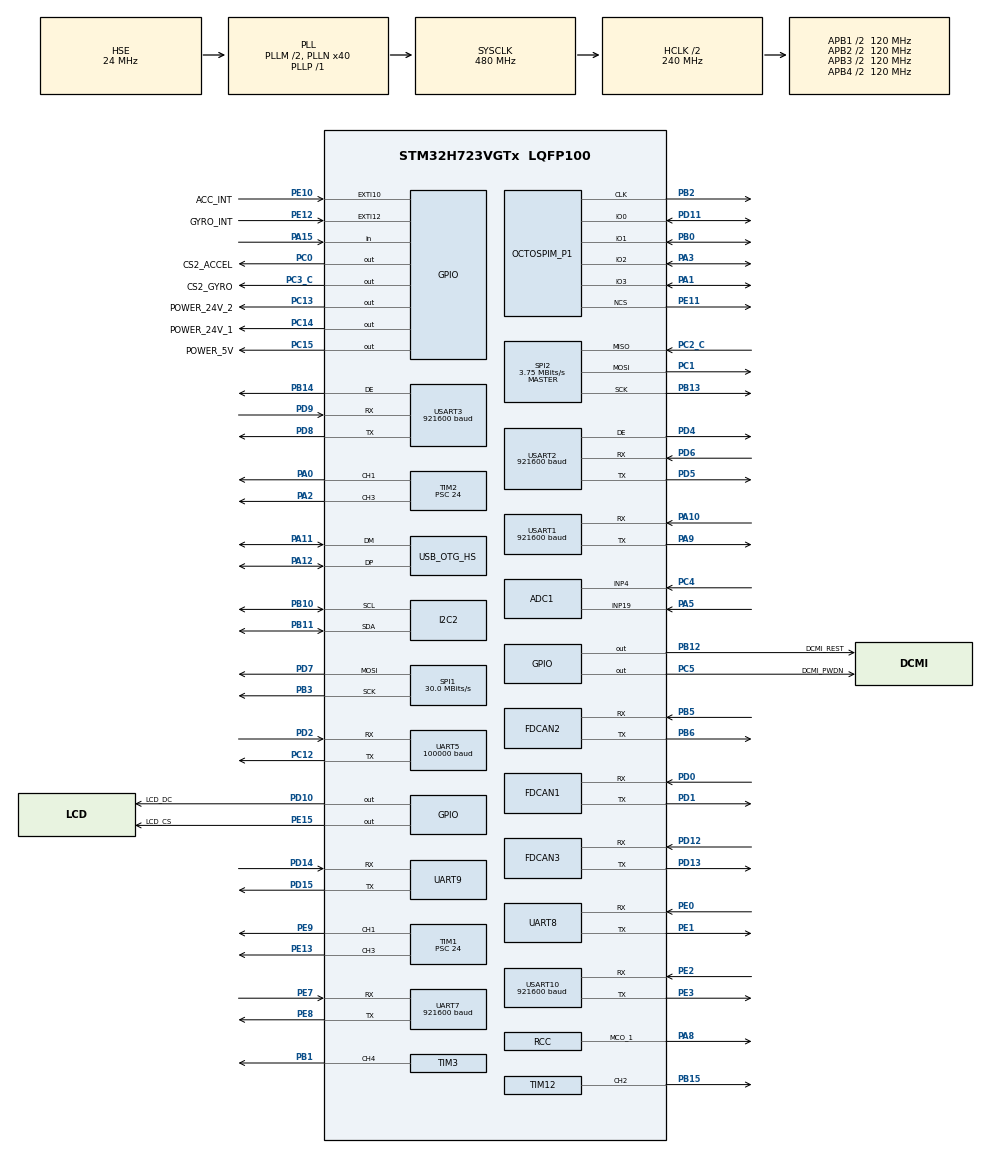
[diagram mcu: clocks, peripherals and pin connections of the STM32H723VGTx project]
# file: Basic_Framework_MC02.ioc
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ADC1.Channel-0\#ChannelRegularConversion=ADC_CHANNEL_4
ADC1.Channel-1\#ChannelRegularConversion=ADC_CHANNEL_19
ADC1.ClockPrescaler=ADC_CLOCK_ASYNC_DIV64
ADC1.ContinuousConvMode=ENABLE
ADC1.ConversionDataManagement=ADC_CONVERSIONDATA_DMA_CIRCULAR
ADC1.NbrOfConversion=2
ADC1.NbrOfConversionFlag=1
ADC1.OffsetNumber-0\#ChannelRegularConversion=ADC_OFFSET_NONE
ADC1.OffsetNumber-1\#ChannelRegularConversion=ADC_OFFSET_NONE
ADC1.OffsetSignedSaturation-0\#ChannelRegularConversion=DISABLE
ADC1.OffsetSignedSaturation-1\#ChannelRegularConversion=DISABLE
ADC1.Rank-0\#ChannelRegularConversion=1
ADC1.Rank-1\#ChannelRegularConversion=2
ADC1.SamplingTime-0\#ChannelRegularConversion=ADC_SAMPLETIME_32CYCLES_5
ADC1.SamplingTime-1\#ChannelRegularConversion=ADC_SAMPLETIME_32CYCLES_5
ADC1.master=1
CORTEX_M7.BaseAddress-Cortex_Memory_Protection_Unit_Region0_Settings=0x24000000
CORTEX_M7.CPU_DCache=Disabled
CORTEX_M7.CPU_ICache=Disabled
CORTEX_M7.Enable-Cortex_Memory_Protection_Unit_Region0_Settings=MPU_REGION_ENABLE
CORTEX_M7.IsBufferable-Cortex_Memory_Protection_Unit_Region0_Settings=MPU_ACCESS_BUFFERABLE
CORTEX_M7.IsCacheable-Cortex_Memory_Protection_Unit_Region0_Settings=MPU_ACCESS_CACHEABLE
CORTEX_M7.MPU_Control=__NULL
CORTEX_M7.Size-Cortex_Memory_Protection_Unit_Region0_Settings=MPU_REGION_SIZE_512B
CORTEX_M7.TypeExtField-Cortex_Memory_Protection_Unit_Region0_Settings=MPU_TEX_LEVEL1
Dma.ADC1.0.Direction=DMA_PERIPH_TO_MEMORY
Dma.ADC1.0.EventEnable=DISABLE
Dma.ADC1.0.FIFOMode=DMA_FIFOMODE_DISABLE
Dma.ADC1.0.Instance=DMA1_Stream0
Dma.ADC1.0.MemDataAlignment=DMA_MDATAALIGN_HALFWORD
Dma.ADC1.0.MemInc=DMA_MINC_ENABLE
Dma.ADC1.0.Mode=DMA_CIRCULAR
Dma.ADC1.0.PeriphDataAlignment=DMA_PDATAALIGN_HALFWORD
Dma.ADC1.0.PeriphInc=DMA_PINC_DISABLE
Dma.ADC1.0.Polarity=HAL_DMAMUX_REQ_GEN_RISING
Dma.ADC1.0.Priority=DMA_PRIORITY_LOW
Dma.ADC1.0.RequestNumber=1
Dma.ADC1.0.SignalID=NONE
Dma.ADC1.0.SyncEnable=DISABLE
Dma.ADC1.0.SyncPolarity=HAL_DMAMUX_SYNC_NO_EVENT
Dma.ADC1.0.SyncRequestNumber=1
Dma.ADC1.0.SyncSignalID=NONE
Dma.I2C2_RX.2.Direction=DMA_PERIPH_TO_MEMORY
Dma.I2C2_RX.2.EventEnable=DISABLE
Dma.I2C2_RX.2.FIFOMode=DMA_FIFOMODE_DISABLE
Dma.I2C2_RX.2.Instance=DMA1_Stream2
Dma.I2C2_RX.2.MemDataAlignment=DMA_MDATAALIGN_BYTE
Dma.I2C2_RX.2.MemInc=DMA_MINC_ENABLE
Dma.I2C2_RX.2.Mode=DMA_NORMAL
Dma.I2C2_RX.2.PeriphDataAlignment=DMA_PDATAALIGN_BYTE
Dma.I2C2_RX.2.PeriphInc=DMA_PINC_DISABLE
Dma.I2C2_RX.2.Polarity=HAL_DMAMUX_REQ_GEN_RISING
Dma.I2C2_RX.2.Priority=DMA_PRIORITY_LOW
Dma.I2C2_RX.2.RequestNumber=1
Dma.I2C2_RX.2.SignalID=NONE
Dma.I2C2_RX.2.SyncEnable=DISABLE
Dma.I2C2_RX.2.SyncPolarity=HAL_DMAMUX_SYNC_NO_EVENT
Dma.I2C2_RX.2.SyncRequestNumber=1
Dma.I2C2_RX.2.SyncSignalID=NONE
Dma.I2C2_TX.3.Direction=DMA_MEMORY_TO_PERIPH
Dma.I2C2_TX.3.EventEnable=DISABLE
Dma.I2C2_TX.3.FIFOMode=DMA_FIFOMODE_DISABLE
Dma.I2C2_TX.3.Instance=DMA1_Stream3
Dma.I2C2_TX.3.MemDataAlignment=DMA_MDATAALIGN_BYTE
Dma.I2C2_TX.3.MemInc=DMA_MINC_ENABLE
Dma.I2C2_TX.3.Mode=DMA_NORMAL
Dma.I2C2_TX.3.PeriphDataAlignment=DMA_PDATAALIGN_BYTE
Dma.I2C2_TX.3.PeriphInc=DMA_PINC_DISABLE
Dma.I2C2_TX.3.Polarity=HAL_DMAMUX_REQ_GEN_RISING
Dma.I2C2_TX.3.Priority=DMA_PRIORITY_LOW
Dma.I2C2_TX.3.RequestNumber=1
Dma.I2C2_TX.3.SignalID=NONE
Dma.I2C2_TX.3.SyncEnable=DISABLE
Dma.I2C2_TX.3.SyncPolarity=HAL_DMAMUX_SYNC_NO_EVENT
Dma.I2C2_TX.3.SyncRequestNumber=1
Dma.I2C2_TX.3.SyncSignalID=NONE
Dma.Request0=ADC1
Dma.Request1=UART5_RX
Dma.Request10=USART1_TX
Dma.Request11=USART1_RX
Dma.Request12=USART10_RX
Dma.Request13=USART10_TX
Dma.Request14=UART8_TX
Dma.Request15=UART8_RX
Dma.Request2=I2C2_RX
Dma.Request3=I2C2_TX
Dma.Request4=UART9_RX
Dma.Request5=UART9_TX
Dma.Request6=USART3_RX
Dma.Request7=USART3_TX
Dma.Request8=USART2_RX
Dma.Request9=USART2_TX
Dma.UART5_RX.1.Direction=DMA_PERIPH_TO_MEMORY
Dma.UART5_RX.1.EventEnable=DISABLE
Dma.UART5_RX.1.FIFOMode=DMA_FIFOMODE_DISABLE
Dma.UART5_RX.1.Instance=DMA1_Stream7
Dma.UART5_RX.1.MemDataAlignment=DMA_MDATAALIGN_BYTE
Dma.UART5_RX.1.MemInc=DMA_MINC_ENABLE
Dma.UART5_RX.1.Mode=DMA_NORMAL
Dma.UART5_RX.1.PeriphDataAlignment=DMA_PDATAALIGN_BYTE
Dma.UART5_RX.1.PeriphInc=DMA_PINC_DISABLE
Dma.UART5_RX.1.Polarity=HAL_DMAMUX_REQ_GEN_RISING
Dma.UART5_RX.1.Priority=DMA_PRIORITY_VERY_HIGH
Dma.UART5_RX.1.RequestNumber=1
Dma.UART5_RX.1.SignalID=NONE
Dma.UART5_RX.1.SyncEnable=DISABLE
Dma.UART5_RX.1.SyncPolarity=HAL_DMAMUX_SYNC_NO_EVENT
Dma.UART5_RX.1.SyncRequestNumber=1
Dma.UART5_RX.1.SyncSignalID=NONE
Dma.UART8_RX.15.Direction=DMA_PERIPH_TO_MEMORY
Dma.UART8_RX.15.EventEnable=DISABLE
Dma.UART8_RX.15.FIFOMode=DMA_FIFOMODE_DISABLE
Dma.UART8_RX.15.Instance=DMA2_Stream7
Dma.UART8_RX.15.MemDataAlignment=DMA_MDATAALIGN_BYTE
Dma.UART8_RX.15.MemInc=DMA_MINC_ENABLE
Dma.UART8_RX.15.Mode=DMA_NORMAL
Dma.UART8_RX.15.PeriphDataAlignment=DMA_PDATAALIGN_BYTE
Dma.UART8_RX.15.PeriphInc=DMA_PINC_DISABLE
Dma.UART8_RX.15.Polarity=HAL_DMAMUX_REQ_GEN_RISING
Dma.UART8_RX.15.Priority=DMA_PRIORITY_LOW
Dma.UART8_RX.15.RequestNumber=1
Dma.UART8_RX.15.SignalID=NONE
Dma.UART8_RX.15.SyncEnable=DISABLE
Dma.UART8_RX.15.SyncPolarity=HAL_DMAMUX_SYNC_NO_EVENT
Dma.UART8_RX.15.SyncRequestNumber=1
Dma.UART8_RX.15.SyncSignalID=NONE
Dma.UART8_TX.14.Direction=DMA_MEMORY_TO_PERIPH
Dma.UART8_TX.14.EventEnable=DISABLE
Dma.UART8_TX.14.FIFOMode=DMA_FIFOMODE_DISABLE
Dma.UART8_TX.14.Instance=DMA2_Stream6
Dma.UART8_TX.14.MemDataAlignment=DMA_MDATAALIGN_BYTE
Dma.UART8_TX.14.MemInc=DMA_MINC_ENABLE
Dma.UART8_TX.14.Mode=DMA_NORMAL
Dma.UART8_TX.14.PeriphDataAlignment=DMA_PDATAALIGN_BYTE
Dma.UART8_TX.14.PeriphInc=DMA_PINC_DISABLE
Dma.UART8_TX.14.Polarity=HAL_DMAMUX_REQ_GEN_RISING
Dma.UART8_TX.14.Priority=DMA_PRIORITY_LOW
Dma.UART8_TX.14.RequestNumber=1
Dma.UART8_TX.14.SignalID=NONE
Dma.UART8_TX.14.SyncEnable=DISABLE
Dma.UART8_TX.14.SyncPolarity=HAL_DMAMUX_SYNC_NO_EVENT
Dma.UART8_TX.14.SyncRequestNumber=1
Dma.UART8_TX.14.SyncSignalID=NONE
Dma.UART9_RX.4.Direction=DMA_PERIPH_TO_MEMORY
Dma.UART9_RX.4.EventEnable=DISABLE
Dma.UART9_RX.4.FIFOMode=DMA_FIFOMODE_DISABLE
Dma.UART9_RX.4.Instance=DMA1_Stream4
Dma.UART9_RX.4.MemDataAlignment=DMA_MDATAALIGN_BYTE
Dma.UART9_RX.4.MemInc=DMA_MINC_ENABLE
Dma.UART9_RX.4.Mode=DMA_NORMAL
Dma.UART9_RX.4.PeriphDataAlignment=DMA_PDATAALIGN_BYTE
Dma.UART9_RX.4.PeriphInc=DMA_PINC_DISABLE
Dma.UART9_RX.4.Polarity=HAL_DMAMUX_REQ_GEN_RISING
Dma.UART9_RX.4.Priority=DMA_PRIORITY_HIGH
Dma.UART9_RX.4.RequestNumber=1
Dma.UART9_RX.4.SignalID=NONE
Dma.UART9_RX.4.SyncEnable=DISABLE
Dma.UART9_RX.4.SyncPolarity=HAL_DMAMUX_SYNC_NO_EVENT
Dma.UART9_RX.4.SyncRequestNumber=1
Dma.UART9_RX.4.SyncSignalID=NONE
Dma.UART9_TX.5.Direction=DMA_MEMORY_TO_PERIPH
Dma.UART9_TX.5.EventEnable=DISABLE
Dma.UART9_TX.5.FIFOMode=DMA_FIFOMODE_DISABLE
Dma.UART9_TX.5.Instance=DMA1_Stream5
Dma.UART9_TX.5.MemDataAlignment=DMA_MDATAALIGN_BYTE
Dma.UART9_TX.5.MemInc=DMA_MINC_ENABLE
Dma.UART9_TX.5.Mode=DMA_NORMAL
Dma.UART9_TX.5.PeriphDataAlignment=DMA_PDATAALIGN_BYTE
Dma.UART9_TX.5.PeriphInc=DMA_PINC_DISABLE
Dma.UART9_TX.5.Polarity=HAL_DMAMUX_REQ_GEN_RISING
Dma.UART9_TX.5.Priority=DMA_PRIORITY_HIGH
Dma.UART9_TX.5.RequestNumber=1
Dma.UART9_TX.5.SignalID=NONE
Dma.UART9_TX.5.SyncEnable=DISABLE
Dma.UART9_TX.5.SyncPolarity=HAL_DMAMUX_SYNC_NO_EVENT
Dma.UART9_TX.5.SyncRequestNumber=1
Dma.UART9_TX.5.SyncSignalID=NONE
Dma.USART10_RX.12.Direction=DMA_PERIPH_TO_MEMORY
Dma.USART10_RX.12.EventEnable=DISABLE
Dma.USART10_RX.12.FIFOMode=DMA_FIFOMODE_DISABLE
Dma.USART10_RX.12.Instance=DMA2_Stream4
Dma.USART10_RX.12.MemDataAlignment=DMA_MDATAALIGN_BYTE
Dma.USART10_RX.12.MemInc=DMA_MINC_ENABLE
Dma.USART10_RX.12.Mode=DMA_NORMAL
Dma.USART10_RX.12.PeriphDataAlignment=DMA_PDATAALIGN_BYTE
Dma.USART10_RX.12.PeriphInc=DMA_PINC_DISABLE
Dma.USART10_RX.12.Polarity=HAL_DMAMUX_REQ_GEN_RISING
Dma.USART10_RX.12.Priority=DMA_PRIORITY_LOW
Dma.USART10_RX.12.RequestNumber=1
Dma.USART10_RX.12.SignalID=NONE
Dma.USART10_RX.12.SyncEnable=DISABLE
Dma.USART10_RX.12.SyncPolarity=HAL_DMAMUX_SYNC_NO_EVENT
Dma.USART10_RX.12.SyncRequestNumber=1
Dma.USART10_RX.12.SyncSignalID=NONE
Dma.USART10_TX.13.Direction=DMA_MEMORY_TO_PERIPH
Dma.USART10_TX.13.EventEnable=DISABLE
Dma.USART10_TX.13.FIFOMode=DMA_FIFOMODE_DISABLE
Dma.USART10_TX.13.Instance=DMA2_Stream5
Dma.USART10_TX.13.MemDataAlignment=DMA_MDATAALIGN_BYTE
Dma.USART10_TX.13.MemInc=DMA_MINC_ENABLE
Dma.USART10_TX.13.Mode=DMA_NORMAL
Dma.USART10_TX.13.PeriphDataAlignment=DMA_PDATAALIGN_BYTE
Dma.USART10_TX.13.PeriphInc=DMA_PINC_DISABLE
Dma.USART10_TX.13.Polarity=HAL_DMAMUX_REQ_GEN_RISING
Dma.USART10_TX.13.Priority=DMA_PRIORITY_LOW
Dma.USART10_TX.13.RequestNumber=1
Dma.USART10_TX.13.SignalID=NONE
Dma.USART10_TX.13.SyncEnable=DISABLE
Dma.USART10_TX.13.SyncPolarity=HAL_DMAMUX_SYNC_NO_EVENT
Dma.USART10_TX.13.SyncRequestNumber=1
Dma.USART10_TX.13.SyncSignalID=NONE
Dma.USART1_RX.11.Direction=DMA_PERIPH_TO_MEMORY
Dma.USART1_RX.11.EventEnable=DISABLE
Dma.USART1_RX.11.FIFOMode=DMA_FIFOMODE_DISABLE
Dma.USART1_RX.11.Instance=DMA2_Stream3
Dma.USART1_RX.11.MemDataAlignment=DMA_MDATAALIGN_BYTE
Dma.USART1_RX.11.MemInc=DMA_MINC_ENABLE
Dma.USART1_RX.11.Mode=DMA_NORMAL
Dma.USART1_RX.11.PeriphDataAlignment=DMA_PDATAALIGN_BYTE
Dma.USART1_RX.11.PeriphInc=DMA_PINC_DISABLE
Dma.USART1_RX.11.Polarity=HAL_DMAMUX_REQ_GEN_RISING
Dma.USART1_RX.11.Priority=DMA_PRIORITY_LOW
Dma.USART1_RX.11.RequestNumber=1
Dma.USART1_RX.11.SignalID=NONE
Dma.USART1_RX.11.SyncEnable=DISABLE
Dma.USART1_RX.11.SyncPolarity=HAL_DMAMUX_SYNC_NO_EVENT
Dma.USART1_RX.11.SyncRequestNumber=1
Dma.USART1_RX.11.SyncSignalID=NONE
Dma.USART1_TX.10.Direction=DMA_MEMORY_TO_PERIPH
Dma.USART1_TX.10.EventEnable=DISABLE
Dma.USART1_TX.10.FIFOMode=DMA_FIFOMODE_DISABLE
Dma.USART1_TX.10.Instance=DMA2_Stream2
Dma.USART1_TX.10.MemDataAlignment=DMA_MDATAALIGN_BYTE
Dma.USART1_TX.10.MemInc=DMA_MINC_ENABLE
Dma.USART1_TX.10.Mode=DMA_NORMAL
Dma.USART1_TX.10.PeriphDataAlignment=DMA_PDATAALIGN_BYTE
Dma.USART1_TX.10.PeriphInc=DMA_PINC_DISABLE
Dma.USART1_TX.10.Polarity=HAL_DMAMUX_REQ_GEN_RISING
Dma.USART1_TX.10.Priority=DMA_PRIORITY_LOW
Dma.USART1_TX.10.RequestNumber=1
Dma.USART1_TX.10.SignalID=NONE
Dma.USART1_TX.10.SyncEnable=DISABLE
Dma.USART1_TX.10.SyncPolarity=HAL_DMAMUX_SYNC_NO_EVENT
Dma.USART1_TX.10.SyncRequestNumber=1
Dma.USART1_TX.10.SyncSignalID=NONE
Dma.USART2_RX.8.Direction=DMA_PERIPH_TO_MEMORY
Dma.USART2_RX.8.EventEnable=DISABLE
Dma.USART2_RX.8.FIFOMode=DMA_FIFOMODE_DISABLE
Dma.USART2_RX.8.Instance=DMA2_Stream0
Dma.USART2_RX.8.MemDataAlignment=DMA_MDATAALIGN_BYTE
Dma.USART2_RX.8.MemInc=DMA_MINC_ENABLE
Dma.USART2_RX.8.Mode=DMA_NORMAL
Dma.USART2_RX.8.PeriphDataAlignment=DMA_PDATAALIGN_BYTE
Dma.USART2_RX.8.PeriphInc=DMA_PINC_DISABLE
Dma.USART2_RX.8.Polarity=HAL_DMAMUX_REQ_GEN_RISING
Dma.USART2_RX.8.Priority=DMA_PRIORITY_LOW
Dma.USART2_RX.8.RequestNumber=1
Dma.USART2_RX.8.SignalID=NONE
Dma.USART2_RX.8.SyncEnable=DISABLE
Dma.USART2_RX.8.SyncPolarity=HAL_DMAMUX_SYNC_NO_EVENT
Dma.USART2_RX.8.SyncRequestNumber=1
Dma.USART2_RX.8.SyncSignalID=NONE
Dma.USART2_TX.9.Direction=DMA_MEMORY_TO_PERIPH
Dma.USART2_TX.9.EventEnable=DISABLE
Dma.USART2_TX.9.FIFOMode=DMA_FIFOMODE_DISABLE
Dma.USART2_TX.9.Instance=DMA2_Stream1
Dma.USART2_TX.9.MemDataAlignment=DMA_MDATAALIGN_BYTE
Dma.USART2_TX.9.MemInc=DMA_MINC_ENABLE
Dma.USART2_TX.9.Mode=DMA_NORMAL
Dma.USART2_TX.9.PeriphDataAlignment=DMA_PDATAALIGN_BYTE
Dma.USART2_TX.9.PeriphInc=DMA_PINC_DISABLE
Dma.USART2_TX.9.Polarity=HAL_DMAMUX_REQ_GEN_RISING
Dma.USART2_TX.9.Priority=DMA_PRIORITY_LOW
Dma.USART2_TX.9.RequestNumber=1
Dma.USART2_TX.9.SignalID=NONE
Dma.USART2_TX.9.SyncEnable=DISABLE
Dma.USART2_TX.9.SyncPolarity=HAL_DMAMUX_SYNC_NO_EVENT
Dma.USART2_TX.9.SyncRequestNumber=1
Dma.USART2_TX.9.SyncSignalID=NONE
Dma.USART3_RX.6.Direction=DMA_PERIPH_TO_MEMORY
Dma.USART3_RX.6.EventEnable=DISABLE
Dma.USART3_RX.6.FIFOMode=DMA_FIFOMODE_DISABLE
Dma.USART3_RX.6.Instance=DMA1_Stream6
Dma.USART3_RX.6.MemDataAlignment=DMA_MDATAALIGN_BYTE
Dma.USART3_RX.6.MemInc=DMA_MINC_ENABLE
Dma.USART3_RX.6.Mode=DMA_NORMAL
Dma.USART3_RX.6.PeriphDataAlignment=DMA_PDATAALIGN_BYTE
Dma.USART3_RX.6.PeriphInc=DMA_PINC_DISABLE
Dma.USART3_RX.6.Polarity=HAL_DMAMUX_REQ_GEN_RISING
Dma.USART3_RX.6.Priority=DMA_PRIORITY_LOW
Dma.USART3_RX.6.RequestNumber=1
Dma.USART3_RX.6.SignalID=NONE
Dma.USART3_RX.6.SyncEnable=DISABLE
Dma.USART3_RX.6.SyncPolarity=HAL_DMAMUX_SYNC_NO_EVENT
Dma.USART3_RX.6.SyncRequestNumber=1
Dma.USART3_RX.6.SyncSignalID=NONE
Dma.USART3_TX.7.Direction=DMA_MEMORY_TO_PERIPH
Dma.USART3_TX.7.EventEnable=DISABLE
Dma.USART3_TX.7.FIFOMode=DMA_FIFOMODE_DISABLE
Dma.USART3_TX.7.Instance=DMA1_Stream1
Dma.USART3_TX.7.MemDataAlignment=DMA_MDATAALIGN_BYTE
Dma.USART3_TX.7.MemInc=DMA_MINC_ENABLE
Dma.USART3_TX.7.Mode=DMA_NORMAL
Dma.USART3_TX.7.PeriphDataAlignment=DMA_PDATAALIGN_BYTE
Dma.USART3_TX.7.PeriphInc=DMA_PINC_DISABLE
Dma.USART3_TX.7.Polarity=HAL_DMAMUX_REQ_GEN_RISING
Dma.USART3_TX.7.Priority=DMA_PRIORITY_LOW
Dma.USART3_TX.7.RequestNumber=1
Dma.USART3_TX.7.SignalID=NONE
Dma.USART3_TX.7.SyncEnable=DISABLE
Dma.USART3_TX.7.SyncPolarity=HAL_DMAMUX_SYNC_NO_EVENT
Dma.USART3_TX.7.SyncRequestNumber=1
Dma.USART3_TX.7.SyncSignalID=NONE
FDCAN1.CalculateBaudRateNominal=1000000
FDCAN1.CalculateTimeBitNominal=1000
FDCAN1.CalculateTimeQuantumNominal=25.0
FDCAN1.DataPrescaler=3
FDCAN1.DataSyncJumpWidth=10
FDCAN1.DataTimeSeg1=29
FDCAN1.DataTimeSeg2=10
FDCAN1.NominalPrescaler=3
FDCAN1.NominalTimeSeg1=29
FDCAN1.NominalTimeSeg2=10
FDCAN1.ProtocolException=ENABLE
FDCAN1.RxFifo0ElmtsNbr=4
FDCAN1.RxFifo1ElmtsNbr=4
FDCAN1.StdFiltersNbr=14
FDCAN1.TxFifoQueueElmtsNbr=4
FDCAN2.CalculateBaudRateNominal=1000000
FDCAN2.CalculateTimeBitNominal=1000
FDCAN2.CalculateTimeQuantumNominal=25.0
FDCAN2.DataPrescaler=3
FDCAN2.DataSyncJumpWidth=10
FDCAN2.DataTimeSeg1=29
FDCAN2.DataTimeSeg2=10
FDCAN2.MessageRAMOffset=0x406
FDCAN2.NominalPrescaler=3
FDCAN2.NominalTimeSeg1=29
FDCAN2.NominalTimeSeg2=10
FDCAN2.RxFifo0ElmtsNbr=4
FDCAN2.RxFifo1ElmtsNbr=4
FDCAN2.StdFiltersNbr=14
FDCAN2.TxFifoQueueElmtsNbr=4
FDCAN3.CalculateBaudRateNominal=1000000
FDCAN3.CalculateTimeBitNominal=1000
FDCAN3.CalculateTimeQuantumNominal=25.0
FDCAN3.DataPrescaler=3
FDCAN3.DataSyncJumpWidth=10
FDCAN3.DataTimeSeg1=29
FDCAN3.DataTimeSeg2=10
FDCAN3.MessageRAMOffset=0x812
FDCAN3.NominalPrescaler=3
FDCAN3.NominalTimeSeg1=29
FDCAN3.NominalTimeSeg2=10
FDCAN3.RxFifo0ElmtsNbr=4
FDCAN3.RxFifo1ElmtsNbr=4
FDCAN3.StdFiltersNbr=14
FDCAN3.TxFifoQueueElmtsNbr=4
FREERTOS.INCLUDE_eTaskGetState=0
FREERTOS.INCLUDE_uxTaskGetStackHighWaterMark=0
FREERTOS.INCLUDE_vTaskDelayUntil=1
FREERTOS.INCLUDE_xQueueGetMutexHolder=1
FREERTOS.INCLUDE_xTaskGetCurrentTaskHandle=0
FREERTOS.INCLUDE_xTimerPendFunctionCall=0
FREERTOS.Tasks01=defaultTask,0,128,StartDefaultTask,Default,NULL,Dynamic,NULL,NULL
FREERTOS.configENABLE_FPU=1
FREERTOS.configGENERATE_RUN_TIME_STATS=1
FREERTOS.configTOTAL_HEAP_SIZE=25600
FREERTOS.configUSE_COUNTING_SEMAPHORES=1
FREERTOS.configUSE_RECURSIVE_MUTEXES=0
FREERTOS.configUSE_TIMERS=1
FREERTOS.configUSE_TRACE_FACILITY=1
I2C2.Timing=0x307075B1
Mcu.Family=STM32H7
Mcu.Name=STM32H723VGTx
Mcu.Package=LQFP100
NVIC.DMA1_Stream0_IRQn=true\:5\:0\:false\:false\:true\:false\:false\:true\:true
NVIC.DMA1_Stream1_IRQn=true\:5\:0\:false\:false\:true\:true\:false\:true\:true
NVIC.DMA1_Stream2_IRQn=true\:5\:0\:false\:false\:true\:true\:false\:true\:true
NVIC.DMA1_Stream3_IRQn=true\:5\:0\:false\:false\:true\:true\:false\:true\:true
NVIC.DMA1_Stream4_IRQn=true\:5\:0\:false\:false\:true\:true\:false\:true\:true
NVIC.DMA1_Stream5_IRQn=true\:5\:0\:false\:false\:true\:true\:false\:true\:true
NVIC.DMA1_Stream6_IRQn=true\:5\:0\:false\:false\:true\:true\:false\:true\:true
NVIC.DMA1_Stream7_IRQn=true\:5\:0\:false\:false\:true\:true\:false\:true\:true
NVIC.DMA2_Stream0_IRQn=true\:5\:0\:false\:false\:true\:true\:false\:true\:true
NVIC.DMA2_Stream1_IRQn=true\:5\:0\:false\:false\:true\:true\:false\:true\:true
NVIC.DMA2_Stream2_IRQn=true\:5\:0\:false\:false\:true\:true\:false\:true\:true
NVIC.DMA2_Stream3_IRQn=true\:5\:0\:false\:false\:true\:true\:false\:true\:true
NVIC.DMA2_Stream4_IRQn=true\:5\:0\:false\:false\:true\:true\:false\:true\:true
NVIC.DMA2_Stream5_IRQn=true\:5\:0\:false\:false\:true\:true\:false\:true\:true
NVIC.DMA2_Stream6_IRQn=true\:5\:0\:false\:false\:true\:true\:false\:true\:true
NVIC.DMA2_Stream7_IRQn=true\:5\:0\:false\:false\:true\:true\:false\:true\:true
NVIC.FDCAN1_IT0_IRQn=true\:5\:0\:false\:false\:true\:true\:true\:true\:true
NVIC.FDCAN1_IT1_IRQn=true\:5\:0\:false\:false\:true\:true\:true\:true\:true
NVIC.FDCAN2_IT0_IRQn=true\:5\:0\:false\:false\:true\:true\:true\:true\:true
NVIC.FDCAN2_IT1_IRQn=true\:5\:0\:false\:false\:true\:true\:true\:true\:true
NVIC.FDCAN3_IT0_IRQn=true\:5\:0\:false\:false\:true\:true\:true\:true\:true
NVIC.FDCAN3_IT1_IRQn=true\:5\:0\:false\:false\:true\:true\:true\:true\:true
NVIC.I2C2_EV_IRQn=true\:5\:0\:false\:false\:true\:true\:true\:true\:true
NVIC.OTG_HS_IRQn=true\:5\:0\:false\:false\:true\:true\:false\:true\:true
NVIC.PriorityGroup=NVIC_PRIORITYGROUP_4
NVIC.TIM23_IRQn=true\:15\:0\:false\:false\:true\:false\:false\:true\:true
NVIC.TimeBase=TIM23_IRQn
NVIC.TimeBaseIP=TIM23
NVIC.UART5_IRQn=true\:5\:0\:false\:false\:true\:true\:true\:true\:true
NVIC.UART7_IRQn=true\:5\:0\:true\:false\:true\:false\:true\:true\:true
NVIC.USART10_IRQn=true\:5\:0\:true\:false\:true\:false\:true\:true\:true
NVIC.USART1_IRQn=true\:5\:0\:true\:false\:true\:false\:true\:true\:true
NVIC.USART2_IRQn=true\:5\:0\:true\:false\:true\:false\:true\:true\:true
NVIC.USART3_IRQn=true\:5\:0\:true\:false\:true\:false\:true\:true\:true
OCTOSPI2.ClockMode=HAL_OSPI_CLOCK_MODE_3
OCTOSPI2.ClockPrescaler=3
OCTOSPI2.DeviceSize=23
OCTOSPI2.DeviceType=SPI_DEVICE_FLASH
OCTOSPI2.FifoThreshold=8
OCTOSPI2.SampleShifting=HAL_OSPI_SAMPLE_SHIFTING_HALFCYCLE
PA0.Signal=S_TIM2_CH1_ETR
PA1.Mode=OCTOSPI2_IOL_Port1L
PA1.Signal=OCTOSPIM_P1_IO3
PA10.Mode=Asynchronous
PA10.Signal=USART1_RX
PA11.Mode=Device_Only_FS
PA11.Signal=USB_OTG_HS_DM
PA12.Mode=Device_Only_FS
PA12.Signal=USB_OTG_HS_DP
PA13(JTMS/SWDIO).Mode=Serial_Wire
PA13(JTMS/SWDIO).Signal=DEBUG_JTMS-SWDIO
PA14(JTCK/SWCLK).Mode=Serial_Wire
PA14(JTCK/SWCLK).Signal=DEBUG_JTCK-SWCLK
PA15(JTDI).Signal=GPIO_Input
PA2.Signal=S_TIM2_CH3
PA3.Mode=OCTOSPI2_IOL_Port1L
PA3.Signal=OCTOSPIM_P1_IO2
PA5.Signal=ADCx_INP19
PA8.Mode=Clock-out-1
PA8.Signal=RCC_MCO_1
PA9.Mode=Asynchronous
PA9.Signal=USART1_TX
PB0.Mode=OCTOSPI2_IOL_Port1L
PB0.Signal=OCTOSPIM_P1_IO1
PB1.Signal=S_TIM3_CH4
PB10.Mode=I2C
PB10.Signal=I2C2_SCL
PB11.Mode=I2C
PB11.Signal=I2C2_SDA
PB12.GPIO_Label=DCMI_REST
PB12.GPIO_PuPd=GPIO_PULLUP
PB12.GPIO_Speed=GPIO_SPEED_FREQ_VERY_HIGH
PB12.PinState=GPIO_PIN_SET
PB12.Signal=GPIO_Output
PB13.GPIO_Speed=GPIO_SPEED_FREQ_VERY_HIGH
PB13.Mode=Full_Duplex_Master
PB13.Signal=SPI2_SCK
PB14.Mode=Hardware Flow Control (RS485)
PB14.Signal=USART3_DE
PB15.Signal=S_TIM12_CH2
PB2.Mode=O2_P1_CLK
PB2.Signal=OCTOSPIM_P1_CLK
PB3(JTDO/TRACESWO).GPIO_Speed=GPIO_SPEED_FREQ_VERY_HIGH
PB3(JTDO/TRACESWO).Mode=TX_Only_Simplex_Unidirect_Master
PB3(JTDO/TRACESWO).Signal=SPI1_SCK
PB5.Mode=FDCAN_Activate
PB5.Signal=FDCAN2_RX
PB6.Mode=FDCAN_Activate
PB6.Signal=FDCAN2_TX
PC0.GPIO_Label=CS2_ACCEL
PC0.GPIO_Speed=GPIO_SPEED_FREQ_VERY_HIGH
PC0.PinState=GPIO_PIN_SET
PC0.Signal=GPIO_Output
PC1.GPIO_Speed=GPIO_SPEED_FREQ_VERY_HIGH
PC1.Mode=Full_Duplex_Master
PC1.Signal=SPI2_MOSI
PC12.Mode=Asynchronous
PC12.Signal=UART5_TX
PC13.GPIO_Label=POWER_24V_2
PC13.PinState=GPIO_PIN_SET
PC13.Signal=GPIO_Output
PC14-OSC32_IN.GPIO_Label=POWER_24V_1
PC14-OSC32_IN.PinState=GPIO_PIN_SET
PC14-OSC32_IN.Signal=GPIO_Output
PC15-OSC32_OUT.GPIO_Label=POWER_5V
PC15-OSC32_OUT.PinState=GPIO_PIN_SET
PC15-OSC32_OUT.Signal=GPIO_Output
PC2_C.GPIO_Speed=GPIO_SPEED_FREQ_VERY_HIGH
PC2_C.Mode=Full_Duplex_Master
PC2_C.Signal=SPI2_MISO
PC3_C.GPIO_Label=CS2_GYRO
PC3_C.GPIO_Speed=GPIO_SPEED_FREQ_VERY_HIGH
PC3_C.PinState=GPIO_PIN_SET
PC3_C.Signal=GPIO_Output
PC4.Signal=ADCx_INP4
PC5.GPIO_Label=DCMI_PWDN
PC5.GPIO_PuPd=GPIO_NOPULL
PC5.GPIO_Speed=GPIO_SPEED_FREQ_VERY_HIGH
PC5.PinState=GPIO_PIN_SET
PC5.Signal=GPIO_Output
PD0.Mode=FDCAN_Activate
PD0.Signal=FDCAN1_RX
PD1.Mode=FDCAN_Activate
PD1.Signal=FDCAN1_TX
PD10.GPIO_Label=LCD_DC
PD10.Signal=GPIO_Output
PD11.Mode=OCTOSPI2_IOL_Port1L
PD11.Signal=OCTOSPIM_P1_IO0
PD12.Mode=FDCAN_Activate
PD12.Signal=FDCAN3_RX
PD13.Mode=FDCAN_Activate
PD13.Signal=FDCAN3_TX
PD14.Mode=Asynchronous
PD14.Signal=UART9_RX
PD15.Mode=Asynchronous
PD15.Signal=UART9_TX
PD2.Mode=Asynchronous
PD2.Signal=UART5_RX
PD4.Mode=Hardware Flow Control (RS485)
PD4.Signal=USART2_DE
PD5.Mode=Asynchronous
PD5.Signal=USART2_TX
PD6.Mode=Asynchronous
PD6.Signal=USART2_RX
PD7.GPIO_Speed=GPIO_SPEED_FREQ_VERY_HIGH
PD7.Mode=TX_Only_Simplex_Unidirect_Master
PD7.Signal=SPI1_MOSI
PD8.Mode=Asynchronous
PD8.Signal=USART3_TX
PD9.Mode=Asynchronous
PD9.Signal=USART3_RX
PE0.Mode=Asynchronous
PE0.Signal=UART8_RX
PE1.Mode=Asynchronous
PE1.Signal=UART8_TX
PE10.GPIO_Label=ACC_INT
PE10.Signal=GPXTI10
PE11.Mode=OCTOSPI2_Port1_NCS
PE11.Signal=OCTOSPIM_P1_NCS
PE12.GPIO_Label=GYRO_INT
PE12.Signal=GPXTI12
PE13.Signal=S_TIM1_CH3
PE15.GPIO_Label=LCD_CS
PE15.Signal=GPIO_Output
PE2.Mode=Asynchronous
PE2.Signal=USART10_RX
PE3.Mode=Asynchronous
PE3.Signal=USART10_TX
PE7.Mode=Asynchronous
PE7.Signal=UART7_RX
PE8.Mode=Asynchronous
PE8.Signal=UART7_TX
PE9.Signal=S_TIM1_CH1
PH0-OSC_IN.Mode=HSE-External-Oscillator
PH0-OSC_IN.Signal=RCC_OSC_IN
PH1-OSC_OUT.Mode=HSE-External-Oscillator
PH1-OSC_OUT.Signal=RCC_OSC_OUT
ProjectManager.HeapSize=0x2000
ProjectManager.StackSize=0x2000
ProjectManager.TargetToolchain=Makefile
RCC.ADCFreq_Value=96000000
RCC.APB1Freq_Value=120000000
RCC.APB2Freq_Value=120000000
RCC.APB3Freq_Value=120000000
RCC.APB4Freq_Value=120000000
RCC.CortexFreq_Value=480000000
RCC.D1PPRE=RCC_APB3_DIV2
RCC.D2PPRE1=RCC_APB1_DIV2
RCC.D2PPRE2=RCC_APB2_DIV2
RCC.D3PPRE=RCC_APB4_DIV2
RCC.DIVM1=2
RCC.DIVM2=2
RCC.DIVN1=40
RCC.DIVN2=16
RCC.DIVP1=1
RCC.DIVQ1=4
RCC.EnbaleCSS=false
RCC.HCLKFreq_Value=240000000
RCC.HPRE=RCC_HCLK_DIV2
RCC.HSE_VALUE=24000000
RCC.PLL2FRACN=0
RCC.PLL2_VCI_Range-AdvancedSettings=RCC_PLL2VCIRANGE_0
RCC.PLL2_VCO_SEL-AdvancedSettings=RCC_PLL2VCOWIDE
RCC.PLL3FRACN=0
RCC.PLL3_VCO_SEL-AdvancedSettings=RCC_PLL3VCOMEDIUM
RCC.PLLFRACN=0
RCC.PLLSourceVirtual=RCC_PLLSOURCE_HSE
RCC.SPI6CLockSelection=RCC_SPI6CLKSOURCE_HSE
RCC.SYSCLKFreq_VALUE=480000000
RCC.SYSCLKSource=RCC_SYSCLKSOURCE_PLLCLK
RCC.USBCLockSelection=RCC_USBCLKSOURCE_HSI48
RCC.USBFreq_Value=48000000
SH.ADCx_INP19.0=ADC1_INP19,IN19-Single-Ended
SH.ADCx_INP4.0=ADC1_INP4,IN4-Single-Ended
SH.S_TIM12_CH2.0=TIM12_CH2,PWM Generation2 CH2
SH.S_TIM1_CH1.0=TIM1_CH1,PWM Generation1 CH1
SH.S_TIM1_CH3.0=TIM1_CH3,PWM Generation3 CH3
SH.S_TIM2_CH1_ETR.0=TIM2_CH1,PWM Generation1 CH1
SH.S_TIM2_CH3.0=TIM2_CH3,PWM Generation3 CH3
SH.S_TIM3_CH4.0=TIM3_CH4,PWM Generation4 CH4
SPI1.BaudRatePrescaler=SPI_BAUDRATEPRESCALER_4
SPI1.CLKPolarity=SPI_POLARITY_HIGH
SPI1.CalculateBaudRate=30.0 MBits/s
SPI1.DataSize=SPI_DATASIZE_8BIT
SPI1.Direction=SPI_DIRECTION_2LINES_TXONLY
SPI1.Mode=SPI_MODE_MASTER
SPI1.VirtualType=VM_MASTER
SPI2.BaudRatePrescaler=SPI_BAUDRATEPRESCALER_32
SPI2.CLKPhase=SPI_PHASE_2EDGE
SPI2.CLKPolarity=SPI_POLARITY_HIGH
SPI2.CalculateBaudRate=3.75 MBits/s
SPI2.DataSize=SPI_DATASIZE_8BIT
SPI2.Direction=SPI_DIRECTION_2LINES
SPI2.Mode=SPI_MODE_MASTER
SPI2.VirtualType=VM_MASTER
STMicroelectronics.X-CUBE-ALGOBUILD.1.4.0.LibraryCcDSPOoLibraryJjDSPOoLibrary=true
TIM1.Channel-PWM\ Generation1\ CH1=TIM_CHANNEL_1
TIM1.Channel-PWM\ Generation3\ CH3=TIM_CHANNEL_3
TIM1.Period=10000
TIM1.Prescaler=24
TIM1.Pulse-PWM\ Generation1\ CH1=5000
TIM1.Pulse-PWM\ Generation3\ CH3=5000
TIM12.Channel-PWM\ Generation2\ CH2=TIM_CHANNEL_2
TIM12.Period=2000-1
TIM12.Prescaler=24-1
TIM2.Channel-PWM\ Generation1\ CH1=TIM_CHANNEL_1
TIM2.Channel-PWM\ Generation3\ CH3=TIM_CHANNEL_3
TIM2.Period=10000
TIM2.Prescaler=24
TIM2.Pulse-PWM\ Generation1\ CH1=5000
TIM2.Pulse-PWM\ Generation3\ CH3=5000
TIM3.AutoReloadPreload=TIM_AUTORELOAD_PRELOAD_ENABLE
TIM3.Channel-PWM\ Generation4\ CH4=TIM_CHANNEL_4
TIM3.Period=10000-1
TIM3.Prescaler=24-1
UART5.BaudRate=100000
UART5.Mode=MODE_RX
UART5.Parity=PARITY_EVEN
UART5.WordLength=WORDLENGTH_9B
UART7.BaudRate=921600
USART1.BaudRate=921600
USART1.VirtualMode-Asynchronous=VM_ASYNC
USART10.BaudRate=921600
USART10.VirtualMode=VM_ASYNC
USART2.BaudRate=921600
USART2.VirtualMode-Asynchronous=VM_ASYNC
USART2.VirtualMode-Hardware\ Flow\ Control\ (RS485)=VM_ASYNC
USART3.BaudRate=921600
USART3.VirtualMode-Asynchronous=VM_ASYNC
USART3.VirtualMode-Hardware\ Flow\ Control\ (RS485)=VM_ASYNC
USB_DEVICE.CLASS_NAME_HS=CDC
USB_DEVICE.VirtualMode=Cdc
USB_DEVICE.VirtualModeHS=Cdc_HS
USB_OTG_HS.VirtualMode-Device_Only_FS=Device_Only_FS
VP_FREERTOS_VS_CMSIS_V1.Mode=CMSIS_V1
VP_OCTOSPI2_VS_quad.Mode=quad_mode
VP_STMicroelectronics.X-CUBE-ALGOBUILD_VS_DSPOoLibraryJjLibrary_1.4.0_1.4.0.Mode=DSPOoLibraryJjLibrary
VP_SYS_VS_tim23.Mode=TIM23
VP_USB_DEVICE_VS_USB_DEVICE_CDC_HS.Mode=CDC_HS
board=custom

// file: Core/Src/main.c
/* USER CODE BEGIN Header */
/**
  ******************************************************************************
  * @file           : main.c
  * @brief          : Main program body
  ******************************************************************************
  * @attention
  *
  * Copyright (c) 2024 STMicroelectronics.
  * All rights reserved.
  *
  * This software is licensed under terms that can be found in the LICENSE file
  * in the root directory of this software component.
  * If no LICENSE file comes with this software, it is provided AS-IS.
  *
  ******************************************************************************
  */
/* USER CODE END Header */
#include "main.h"
#include "cmsis_os.h"
#include "adc.h"
#include "dma.h"
#include "fdcan.h"
#include "i2c.h"
#include "octospi.h"
#include "spi.h"
#include "tim.h"
#include "usart.h"
#include "usb_device.h"
#include "gpio.h"

/* USER CODE BEGIN Includes */
#include "robot.h"
#include "bsp_log.h"
#include "memory_regions.h"
/* USER CODE END Includes */

/* USER CODE BEGIN PV */
#define W25Qxx_NumByteToTest   	32*1024					// �������ݵĳ��ȣ�32K

int32_t OSPI_Status ; 		 //����־λ

uint8_t  W25Qxx_WriteBuffer[W25Qxx_NumByteToTest];		//	д��������
uint8_t  W25Qxx_ReadBuffer[W25Qxx_NumByteToTest];		//	����������
/* USER CODE END PV */

void SystemClock_Config(void);
void MX_FREERTOS_Init(void);

int main(void)

{
  /* USER CODE BEGIN 1 */
  MPU_Config();
  CPU_CACHE_Enable();

  /* USER CODE END 1 */

  /* MCU Configuration--------------------------------------------------------*/

  /* Reset of all peripherals, Initializes the Flash interface and the Systick. */
  HAL_Init();

  /* Configure the system clock */
  SystemClock_Config();

  /* Initialize all configured peripherals */
  MX_GPIO_Init();
  MX_DMA_Init();
  MX_ADC1_Init();
  MX_TIM12_Init();
  MX_SPI1_Init();
  MX_SPI2_Init();
  MX_TIM3_Init();
  MX_USART1_UART_Init();
  MX_USART2_UART_Init();
  MX_USART3_UART_Init();
  MX_UART7_Init();
  MX_USART10_UART_Init();
  MX_FDCAN1_Init();
  MX_FDCAN2_Init();
  MX_FDCAN3_Init();
  MX_TIM1_Init();
  MX_TIM2_Init();
  MX_OCTOSPI2_Init();
  MX_UART5_Init();
  MX_UART8_Init();
  MX_UART9_Init();
  MX_I2C2_Init();
  /* USER CODE BEGIN 2 */
  RobotInit(); // Ψһ�ĳ�ʼ������
  LOGINFO("[main] SystemInit() and RobotInit() done");
  /* USER CODE END 2 */

  /* Call init function for freertos objects (in freertos.c) */
  MX_FREERTOS_Init();

  /* Start scheduler */
  osKernelStart();

  /* We should never get here as control is now taken by the scheduler */
  /* Infinite loop */
  /* USER CODE BEGIN WHILE */
  while (1)
  {
//	  vofa_start();

    /* USER CODE END WHILE */

  }
}

void SystemClock_Config(void)
{
  RCC_OscInitTypeDef RCC_OscInitStruct = {0};
  RCC_ClkInitTypeDef RCC_ClkInitStruct = {0};

  /** Supply configuration update enable
  */
  HAL_PWREx_ConfigSupply(PWR_LDO_SUPPLY);

  /** Configure the main internal regulator output voltage
  */
  __HAL_PWR_VOLTAGESCALING_CONFIG(PWR_REGULATOR_VOLTAGE_SCALE0);

  while(!__HAL_PWR_GET_FLAG(PWR_FLAG_VOSRDY)) {}

  /** Initializes the RCC Oscillators according to the specified parameters
  * in the RCC_OscInitTypeDef structure.
  */
  RCC_OscInitStruct.OscillatorType = RCC_OSCILLATORTYPE_HSI48|RCC_OSCILLATORTYPE_HSI
                              |RCC_OSCILLATORTYPE_HSE;
  RCC_OscInitStruct.HSEState = RCC_HSE_ON;
  RCC_OscInitStruct.HSIState = RCC_HSI_DIV1;
  RCC_OscInitStruct.HSICalibrationValue = 64;
  RCC_OscInitStruct.HSI48State = RCC_HSI48_ON;
  RCC_OscInitStruct.PLL.PLLState = RCC_PLL_ON;
  RCC_OscInitStruct.PLL.PLLSource = RCC_PLLSOURCE_HSE;
  RCC_OscInitStruct.PLL.PLLM = 2;
  RCC_OscInitStruct.PLL.PLLN = 40;
  RCC_OscInitStruct.PLL.PLLP = 1;
  RCC_OscInitStruct.PLL.PLLQ = 4;
  RCC_OscInitStruct.PLL.PLLR = 2;
  RCC_OscInitStruct.PLL.PLLRGE = RCC_PLL1VCIRANGE_3;
  RCC_OscInitStruct.PLL.PLLVCOSEL = RCC_PLL1VCOWIDE;
  RCC_OscInitStruct.PLL.PLLFRACN = 0;
  if (HAL_RCC_OscConfig(&RCC_OscInitStruct) != HAL_OK)
  {
    Error_Handler();
  }

  /** Initializes the CPU, AHB and APB buses clocks
  */
  RCC_ClkInitStruct.ClockType = RCC_CLOCKTYPE_HCLK|RCC_CLOCKTYPE_SYSCLK
                              |RCC_CLOCKTYPE_PCLK1|RCC_CLOCKTYPE_PCLK2
                              |RCC_CLOCKTYPE_D3PCLK1|RCC_CLOCKTYPE_D1PCLK1;
  RCC_ClkInitStruct.SYSCLKSource = RCC_SYSCLKSOURCE_PLLCLK;
  RCC_ClkInitStruct.SYSCLKDivider = RCC_SYSCLK_DIV1;
  RCC_ClkInitStruct.AHBCLKDivider = RCC_HCLK_DIV2;
  RCC_ClkInitStruct.APB3CLKDivider = RCC_APB3_DIV2;
  RCC_ClkInitStruct.APB1CLKDivider = RCC_APB1_DIV2;
  RCC_ClkInitStruct.APB2CLKDivider = RCC_APB2_DIV2;
  RCC_ClkInitStruct.APB4CLKDivider = RCC_APB4_DIV2;

  if (HAL_RCC_ClockConfig(&RCC_ClkInitStruct, FLASH_LATENCY_3) != HAL_OK)
  {
    Error_Handler();
  }
  HAL_RCC_MCOConfig(RCC_MCO1, RCC_MCO1SOURCE_HSI, RCC_MCODIV_1);
}

void HAL_TIM_PeriodElapsedCallback(TIM_HandleTypeDef *htim)
{
  if (htim->Instance == TIM23) {
    HAL_IncTick();
  }
}

void Error_Handler(void)
{
  __disable_irq();
  while (1)
  {
  }
}

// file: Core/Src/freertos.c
/* USER CODE BEGIN Header */
/**
  ******************************************************************************
  * File Name          : freertos.c
  * Description        : Code for freertos applications
  ******************************************************************************
  * @attention
  *
  * Copyright (c) 2024 STMicroelectronics.
  * All rights reserved.
  *
  * This software is licensed under terms that can be found in the LICENSE file
  * in the root directory of this software component.
  * If no LICENSE file comes with this software, it is provided AS-IS.
  *
  ******************************************************************************
  */
/* USER CODE END Header */

#include "FreeRTOS.h"
#include "task.h"
#include "main.h"
#include "cmsis_os.h"

osThreadId defaultTaskHandle;

void StartDefaultTask(void const * argument);

extern void MX_USB_DEVICE_Init(void);
void MX_FREERTOS_Init(void); /* (MISRA C 2004 rule 8.1) */

/* GetIdleTaskMemory prototype (linked to static allocation support) */
void vApplicationGetIdleTaskMemory( StaticTask_t **ppxIdleTaskTCBBuffer, StackType_t **ppxIdleTaskStackBuffer, uint32_t *pulIdleTaskStackSize );

/* GetTimerTaskMemory prototype (linked to static allocation support) */
void vApplicationGetTimerTaskMemory( StaticTask_t **ppxTimerTaskTCBBuffer, StackType_t **ppxTimerTaskStackBuffer, uint32_t *pulTimerTaskStackSize );

/* Hook prototypes */
void configureTimerForRunTimeStats(void);
unsigned long getRunTimeCounterValue(void);

/* USER CODE BEGIN 1 */
/* Functions needed when configGENERATE_RUN_TIME_STATS is on */
__weak void configureTimerForRunTimeStats(void)
{

}

__weak unsigned long getRunTimeCounterValue(void)
{
return 0;
}
/* USER CODE END 1 */

/* USER CODE BEGIN GET_IDLE_TASK_MEMORY */
static StaticTask_t xIdleTaskTCBBuffer;
static StackType_t xIdleStack[256];

void vApplicationGetIdleTaskMemory( StaticTask_t **ppxIdleTaskTCBBuffer, StackType_t **ppxIdleTaskStackBuffer, uint32_t *pulIdleTaskStackSize )
{
  *ppxIdleTaskTCBBuffer = &xIdleTaskTCBBuffer;
  *ppxIdleTaskStackBuffer = &xIdleStack[0];
  *pulIdleTaskStackSize = 256;
  /* place for user code */
}
/* USER CODE END GET_IDLE_TASK_MEMORY */

/* USER CODE BEGIN GET_TIMER_TASK_MEMORY */
static StaticTask_t xTimerTaskTCBBuffer;
static StackType_t xTimerStack[512];

void vApplicationGetTimerTaskMemory( StaticTask_t **ppxTimerTaskTCBBuffer, StackType_t **ppxTimerTaskStackBuffer, uint32_t *pulTimerTaskStackSize )
{
  *ppxTimerTaskTCBBuffer = &xTimerTaskTCBBuffer;
  *ppxTimerTaskStackBuffer = &xTimerStack[0];
  *pulTimerTaskStackSize = 512;
  /* place for user code */
}
/* USER CODE END GET_TIMER_TASK_MEMORY */

void MX_FREERTOS_Init(void) {

  /* Create the thread(s) */
  /* definition and creation of defaultTask */
  osThreadDef(defaultTask, StartDefaultTask, osPriorityNormal, 0, 128);
  defaultTaskHandle = osThreadCreate(osThread(defaultTask), NULL);

}

void StartDefaultTask(void const * argument)
{
  /* init code for USB_DEVICE */
  MX_USB_DEVICE_Init();
  for(;;)
  {
    osDelay(1);
  }
}

/* USER CODE BEGIN Application */

void vApplicationStackOverflowHook(TaskHandle_t xTask, char *pcTaskName)
{
  /* Run time stack overflow checking is performed if
     configCHECK_FOR_STACK_OVERFLOW is defined to 1 or 2.
     This hook function is called if a stack overflow is detected. */
  (void)xTask;
  (void)pcTaskName;
  taskDISABLE_INTERRUPTS();
  for(;;);
}

void vApplicationMallocFailedHook(void)
{
  /* This function is called if a call to pvPortMalloc() fails because there
     is insufficient free memory available in the FreeRTOS heap. */
  taskDISABLE_INTERRUPTS();
  for(;;);
}

/* USER CODE END Application */
